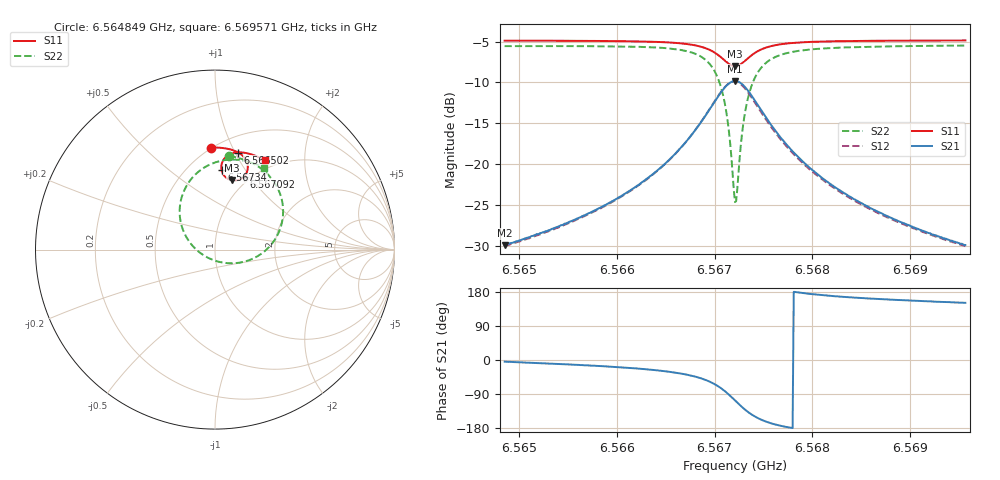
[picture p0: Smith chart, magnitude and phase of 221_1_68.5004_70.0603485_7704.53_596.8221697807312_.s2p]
#  HZ  S  RI  R  50.00
! Rohde & Schwarz Vector Network Analyzer
! Rohde-Schwarz,ZNB20-2Port,1311601062101988,3.16
! Created: UTC 3/20/2024, 5:13:38 PM
! freq[Hz]  re:S11  im:S11  re:S21  im:S21  re:S12  im:S12  re:S22  im:S22
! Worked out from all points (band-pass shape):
!   401 points, 6.564849 GHz to 6.569571 GHz, reference 50 ohm
!   highest |S21| = -9.82 dB at 6.56721 GHz (marker M1); lowest = -29.9 dB at 6.564849 GHz (marker M2)
!   |S21| within 3 dB of the highest: 6.566975 GHz to 6.567447 GHz (472.1 kHz wide, 0.00719 % of centre)
!   lowest |S11| = -8.0 dB at 6.56721 GHz (marker M3), VSWR 2.32, Z = 43.3 + j39.7 ohm
!   |S11| at or under -10 dB: nowhere
!   |S22| runs from -24.6 to -5.5 dB; largest |S21 - S12| = 0.017
!   S11 on the Smith chart (normalised r, x): 6.564849 GHz: 0.49, +0.83; 6.566502 GHz: 0.66, +1.03; 6.567092 GHz: 0.93, +0.94; 6.56734 GHz: 0.72, +0.79; 6.569571 GHz: 0.88, +1.30
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6.5648492e9  -0.0244 0.5687  0.032 -0.0024  0.0316 -0.00304  0.0782 0.521
6.5656401e9  0.0424 0.5661  0.0469 -0.0111  0.046 -0.0118  0.1592 0.5021
6.566065e9  0.0821 0.559  0.0614 -0.0221  0.0605 -0.0228  0.2149 0.4781
6.566431e9  0.1215 0.5451  0.0829 -0.0438  0.0817 -0.0447  0.279 0.4335
6.5665018e9  0.1298 0.5407  0.0885 -0.0509  0.0873 -0.0521  0.2944 0.4192
6.5667379e9  0.1607 0.5163  0.1109 -0.0924  0.1091 -0.0945  0.3512 0.3378
6.5669149e9  0.1809 0.477  0.1204 -0.1616  0.1173 -0.1651  0.3794 0.2047
6.5670212e9  0.1795 0.4372  0.0996 -0.2313  0.0929 -0.236  0.3434 0.072
6.567092e9  0.1615 0.4066  0.0536 -0.2833  0.0426 -0.287  0.2568 -0.0241
6.5671392e9  0.1382 0.3905  0.00292 -0.3089  -0.011 -0.3095  0.1617 -0.0677
6.5671982e9  0.1 0.3848  -0.0764 -0.3133  -0.0913 -0.3075  0.0178 -0.0671
6.56721e9  0.0919 0.3861  -0.0926 -0.3092  -0.1072 -0.3022  -0.0107 -0.0579
6.5672336e9  0.0767 0.3915  -0.1233 -0.297  -0.1365 -0.2873  -0.0635 -0.0315
6.5672926e9  0.0476 0.4166  -0.1819 -0.2453  -0.1899 -0.2315  -0.1588 0.0684
6.5673399e9  0.0368 0.442  -0.2056 -0.1952  -0.2092 -0.1814  -0.1922 0.1591
6.5674343e9  0.0401 0.4858  -0.2072 -0.1104  -0.2053 -0.0996  -0.1807 0.3074
6.5675759e9  0.0676 0.522  -0.1708 -0.0401  -0.1671 -0.0343  -0.1027 0.4248
6.5677412e9  0.0996 0.5378  -0.1314 -0.00703  -0.128 -0.00394  -0.0207 0.4774
6.5680009e9  0.1386 0.5422  -0.092 0.0101  -0.0897 0.0116  0.0661 0.4999
6.5683786e9  0.181 0.5365  -0.062 0.0159  -0.0606 0.0166  0.1432 0.4983
6.5687917e9  0.2184 0.5253  -0.0447 0.0166  -0.0437 0.0171  0.1996 0.4858
6.5695708e9  0.2785 0.4981  -0.0282 0.0157  -0.0275 0.0159  0.2752 0.4544
